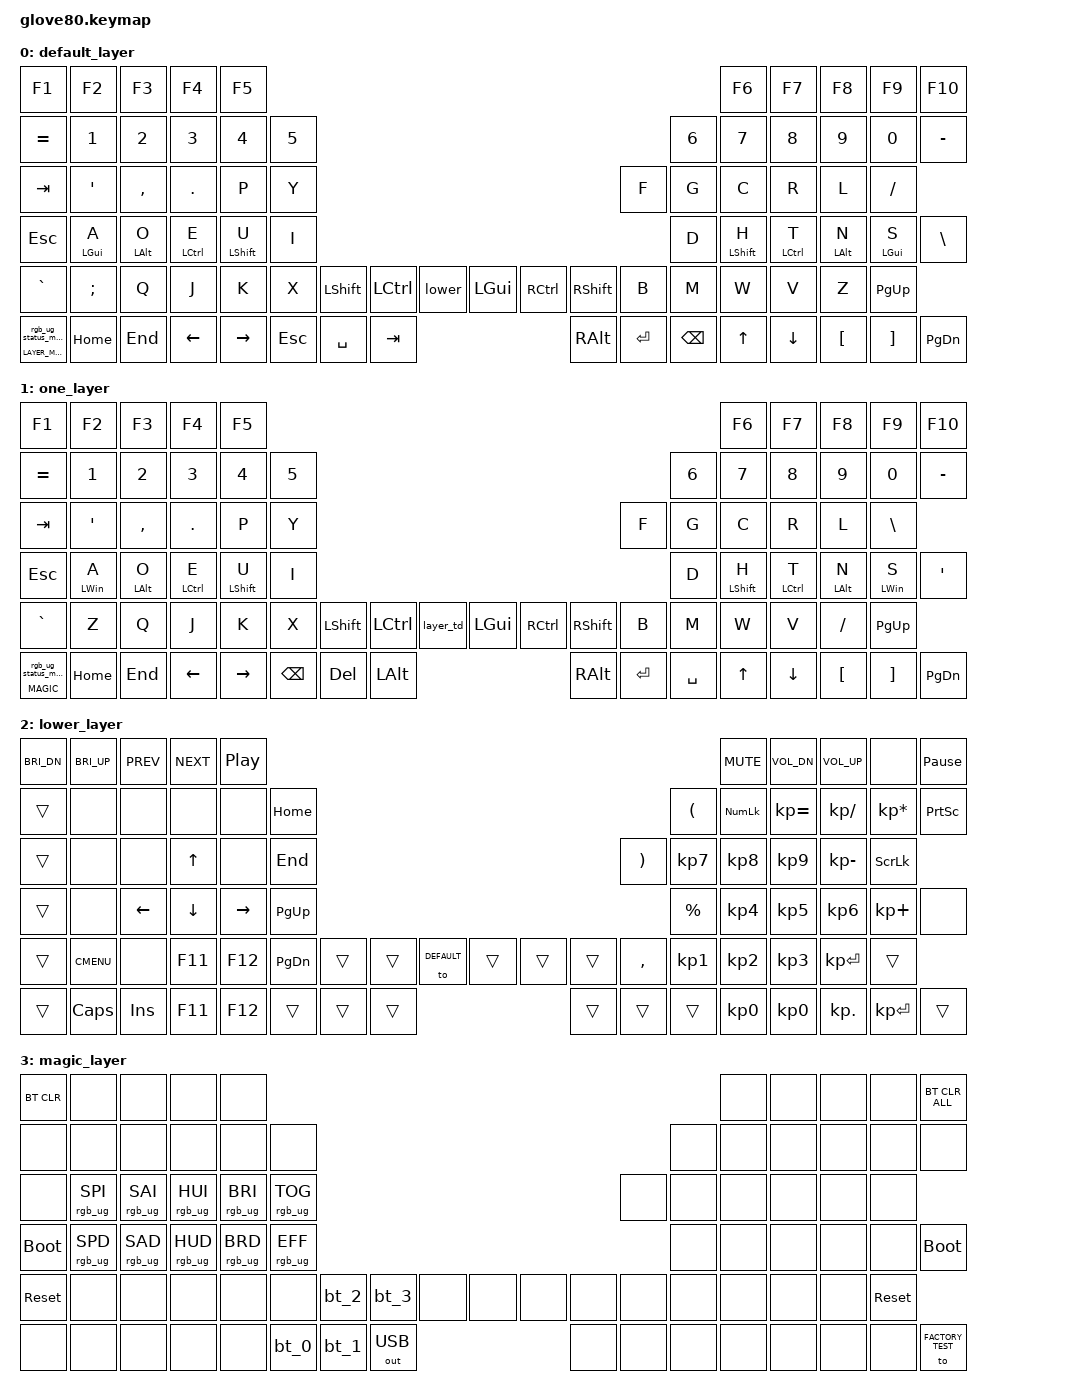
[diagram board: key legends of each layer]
/*
 * Copyright (c) 2020 The ZMK Contributors
 *
 * SPDX-License-Identifier: MIT
 */

#include <behaviors.dtsi>
#include <dt-bindings/zmk/keys.h>
#include <dt-bindings/zmk/bt.h>
#include <dt-bindings/zmk/ext_power.h>
#include <dt-bindings/zmk/outputs.h>
#include <dt-bindings/zmk/rgb.h>

#define HYPER LC(LS(LG(LALT)))

// layers
#define DEFAULT 0
#define LOWER 1
#define MAGIC 2
#define FACTORY_TEST 3
#define ONE 4

/ {
    behaviors {
        // For the "layer" key, it'd nice to be able to use it as either a shift or a toggle.
        // Configure it as a tap dance, so the first tap (or hold) is a &mo and the second tap is a &to
        layer_td: tap_dance_0 {
            compatible = "zmk,behavior-tap-dance";
            label = "LAYER_TAP_DANCE";
            #binding-cells = <0>;
            tapping-term-ms = <200>;
            bindings = <&mo LOWER>, <&to LOWER>;
        };

        magic: magic_hold_tap {
            compatible = "zmk,behavior-hold-tap";
            label = "MAGIC_HOLD_TAP";
            #binding-cells = <2>;
            flavor = "tap-preferred";
            tapping-term-ms = <200>;
            bindings = <&mo>, <&rgb_ug_status_macro>;
        };
        tap_time: tap_time {
            compatible = "zmk,behavior-hold-tap";
            label = "TAP_TIME";
            bindings = <&kp>, <&kp>;

            #binding-cells = <2>;
            tapping-term-ms = <200>;
        };

        layer_tap_pref_hold: layer_tap_pref_hold {
            compatible = "zmk,behavior-hold-tap";
            label = "LAYER_TAP_PREF_HOLD";
            bindings = <&mo>, <&kp>;

            #binding-cells = <2>;
            tapping-term-ms = <200>;
        };

        tap_hold_pref_hold: tap_hold_pref_hold {
            compatible = "zmk,behavior-hold-tap";
            label = "TAP_HOLD_PREF_HOLD";
            bindings = <&kp>, <&kp>;

            #binding-cells = <2>;
            tapping-term-ms = <200>;
            flavor = "hold-preferred";
        };
    };

    macros {
        rgb_ug_status_macro: rgb_ug_status_macro_0 {
            label = "RGB_UG_STATUS";
            compatible = "zmk,behavior-macro";
            #binding-cells = <0>;
            bindings
                = <&rgb_ug RGB_STATUS>;
        };

        bt_0: bt_profile_macro_0 {
            label = "BT_0";
            compatible = "zmk,behavior-macro";
            #binding-cells = <0>;
            bindings
                = <&out OUT_BLE>,
                  <&bt BT_SEL 0>;
        };

        bt_1: bt_profile_macro_1 {
            label = "BT_1";
            compatible = "zmk,behavior-macro";
            #binding-cells = <0>;
            bindings
                = <&out OUT_BLE>,
                  <&bt BT_SEL 1>;
        };

        bt_2: bt_profile_macro_2 {
            label = "BT_2";
            compatible = "zmk,behavior-macro";
            #binding-cells = <0>;
            bindings
                = <&out OUT_BLE>,
                  <&bt BT_SEL 2>;
        };

        bt_3: bt_profile_macro_3 {
            label = "BT_3";
            compatible = "zmk,behavior-macro";
            #binding-cells = <0>;
            bindings
                = <&out OUT_BLE>,
                  <&bt BT_SEL 3>;
        };
    };

    keymap {
        compatible = "zmk,keymap";

        default_layer {
            bindings = <
              &kp F1      &kp F2      &kp F3       &kp F4       &kp F5                                                                                      &kp F6       &kp F7      &kp F8      &kp F9    &kp F10
              &kp EQUAL      &kp N1      &kp N2       &kp N3       &kp N4  &kp N5                                                                 &kp N6       &kp N7       &kp N8      &kp N9      &kp N0  &kp MINUS
              &kp TAB     &kp SQT   &kp COMMA      &kp DOT        &kp P   &kp Y                                                                  &kp F        &kp G        &kp C       &kp R       &kp L  &kp SLASH
              &kp ESC  &mt LGUI A  &mt LALT O  &mt LCTRL E  &mt LSHFT U   &kp I                                                                  &kp D  &mt LSHFT H  &mt LCTRL T  &mt LALT N  &mt LGUI S   &kp BSLH
              &kp GRAVE    &kp SEMI       &kp Q        &kp J        &kp K   &kp X  &kp LSHFT  &kp LCTRL   &lower  &kp LGUI  &kp RCTRL  &kp RSHFT   &kp B        &kp M        &kp W       &kp V       &kp Z  &kp PG_UP
              &magic LAYER_Magic 0    &kp HOME     &kp END     &kp LEFT    &kp RIGHT            &kp ESC  &kp SPACE  &kp TAB  &kp RALT    &kp RET   &kp BSPC               &kp UP     &kp DOWN    &kp LBKT    &kp RBKT  &kp PG_DN
            >;
        };

        one_layer {
            bindings = <
            &kp F1         &kp F2   &kp F3      &kp F4      &kp F5                                                                                         &kp F6  &kp F7      &kp F8      &kp F9      &kp F10
            &kp EQUAL      &kp N1   &kp N2      &kp N3      &kp N4      &kp N5                                                                     &kp N6  &kp N7  &kp N8      &kp N9      &kp N0      &kp MINUS
            &kp TAB        &kp SINGLE_QUOTE    &kp COMMA       &kp PERIOD       &kp P             &kp Y                                &kp F   &kp G   &kp C       &kp R       &kp L       &kp BSLH
            &kp ESC        &mt LWIN A          &mt LEFT_ALT O  &mt LCTRL E      &mt LEFT_SHIFT U  &kp I                                &kp D   &mt LEFT_SHIFT H   &mt LCTRL T       &mt LALT N       &mt LWIN S  &kp SQT
            &kp GRAVE      &kp Z    &kp Q       &kp J       &kp K       &kp X   &kp LSHFT   &kp LCTRL   &layer_td  &kp LGUI  &kp RCTRL &kp RSHFT   &kp B   &kp M   &kp W   &kp V    &kp FSLH    &kp PG_UP
            &magic MAGIC 0 &kp HOME &kp END     &kp LEFT    &kp RIGHT           &kp BSPC    &kp DEL     &kp LALT   &kp RALT  &kp RET   &kp SPACE           &kp UP  &kp DOWN    &kp LBKT    &kp RBKT    &kp PG_DN
            >;
        };

        lower_layer {
            bindings = <
            &kp C_BRI_DN      &kp C_BRI_UP        &kp C_PREV      &kp C_NEXT      &kp C_PP                                                                                                           &kp C_MUTE   &kp C_VOL_DN &kp C_VOL_UP  &none           &kp PAUSE_BREAK
            &trans            &none               &none           &none           &none           &kp HOME                                                                              &kp LPAR     &kp KP_NUM   &kp KP_EQUAL &kp KP_DIVIDE &kp KP_MULTIPLY &kp PSCRN
            &trans            &none               &none           &kp UP          &none           &kp END                                                                               &kp RPAR     &kp KP_N7    &kp KP_N8    &kp KP_N9     &kp KP_MINUS    &kp SLCK
            &trans            &none               &kp LEFT        &kp DOWN        &kp RIGHT       &kp PG_UP                                                                             &kp PRCNT    &kp KP_N4    &kp KP_N5    &kp KP_N6     &kp KP_PLUS     &none
            &trans            &kp K_CMENU         &none           &kp F11         &kp F12         &kp PG_DN       &trans      &trans      &to DEFAULT &trans      &trans      &trans    &kp COMMA    &kp KP_N1    &kp KP_N2    &kp KP_N3     &kp KP_ENTER    &trans
            &trans            &kp CAPS            &kp INS         &kp F11         &kp F12                         &trans      &trans      &trans      &trans      &trans      &trans                 &kp KP_N0    &kp KP_N0    &kp KP_DOT    &kp KP_ENTER    &trans
            >;
        };

        magic_layer {
            bindings = <
            &bt BT_CLR        &none               &none           &none           &none                                                                                                           &none      &none      &none      &none      &bt BT_CLR_ALL
            &none             &none               &none           &none           &none           &none                                                                                &none      &none      &none      &none      &none      &none
            &none             &rgb_ug RGB_SPI     &rgb_ug RGB_SAI &rgb_ug RGB_HUI &rgb_ug RGB_BRI &rgb_ug RGB_TOG                                                                      &none      &none      &none      &none      &none      &none
            &bootloader       &rgb_ug RGB_SPD     &rgb_ug RGB_SAD &rgb_ug RGB_HUD &rgb_ug RGB_BRD &rgb_ug RGB_EFF                                                                      &none      &none      &none      &none      &none      &bootloader
            &sys_reset        &none               &none           &none           &none           &none           &bt_2     &bt_3     &none            &none     &none     &none       &none      &none      &none      &none      &none      &sys_reset
            &none             &none               &none           &none           &none                           &bt_0     &bt_1     &out OUT_USB     &none     &none     &none                  &none      &none      &none      &none      &to FACTORY_TEST
            >;
        };

    };
};
